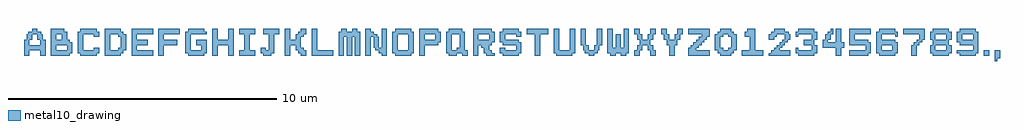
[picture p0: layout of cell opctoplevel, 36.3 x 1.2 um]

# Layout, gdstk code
import gdstk
lib = gdstk.Library(unit=1e-6, precision=1e-09)
def R(c, l, rs):  # rectangles x0, y0, x1, y1
    for r in rs: c.add(gdstk.rectangle(r[:2], r[2:], *l))
def P(c, l, *ps):  # polygons
    for p in ps: c.add(gdstk.Polygon(p, *l))
metal10_drawing = (26, 0)

opctoplevel = lib.new_cell('opctoplevel')
R(opctoplevel, metal10_drawing, [(35.7,0,35.9,0.2)])
P(opctoplevel, metal10_drawing, [(0,0),(0.2,0),(0.2,0.2),(0.6,0.2),(0.6,0),(0.8,0),(0.8,0.6),(0.7,0.6),(0.7,0.8),(0.64,0.8),(0.64,0.9),(0.5,0.9),(0.5,0.6),(0.6,0.6),(0.6,0.4),(0.2,0.4),(0.2,0.6),(0.3,0.6),(0.3,0.8),(0.5,0.8),(0.5,1),(0.3,1),(0.3,0.9),(0.16,0.9),(0.16,0.8),(0.1,0.8),(0.1,0.6),(0,0.6)],
  [(1,0),(1.7,0),(1.7,0.1),(1.8,0.1),(1.8,0.5),(1.7,0.5),(1.7,0.6),(1.6,0.6),(1.6,0.2),(1.2,0.2),(1.2,0.4),(1.6,0.4),(1.6,0.9),(1.5,0.9),(1.5,1),(1.4,1),(1.4,0.6),(1.2,0.6),(1.2,0.8),(1.4,0.8),(1.4,1),(1,1)],
  [(2,0.1),(2.1,0.1),(2.1,0),(2.7,0),(2.7,0.1),(2.8,0.1),(2.8,0.3),(2.6,0.3),(2.6,0.2),(2.2,0.2),(2.2,0.8),(2.6,0.8),(2.6,0.7),(2.8,0.7),(2.8,0.9),(2.7,0.9),(2.7,1),(2.1,1),(2.1,0.9),(2,0.9)],
  [(3,0),(3.6,0),(3.6,0.1),(3.7,0.1),(3.7,0.2),(3.8,0.2),(3.8,0.8),(3.7,0.8),(3.7,0.9),(3.6,0.9),(3.6,1),(3.5,1),(3.5,0.7),(3.6,0.7),(3.6,0.3),(3.5,0.3),(3.5,0.2),(3.2,0.2),(3.2,0.8),(3.5,0.8),(3.5,1),(3,1)],
  [(4,0),(4.8,0),(4.8,0.2),(4.2,0.2),(4.2,0.4),(4.6,0.4),(4.6,0.6),(4.2,0.6),(4.2,0.8),(4.8,0.8),(4.8,1),(4,1)],
  [(5,0),(5.2,0),(5.2,0.4),(5.7,0.4),(5.7,0.6),(5.2,0.6),(5.2,0.8),(5.8,0.8),(5.8,1),(5,1)],
  [(6,0.1),(6.1,0.1),(6.1,0),(6.7,0),(6.7,0.1),(6.8,0.1),(6.8,0.6),(6.4,0.6),(6.4,0.4),(6.6,0.4),(6.6,0.2),(6.2,0.2),(6.2,0.8),(6.8,0.8),(6.8,0.9),(6.7,0.9),(6.7,1),(6.1,1),(6.1,0.9),(6,0.9)],
  [(7,0),(7.2,0),(7.2,0.4),(7.6,0.4),(7.6,0),(7.8,0),(7.8,1),(7.6,1),(7.6,0.6),(7.2,0.6),(7.2,1),(7,1)],
  [(8,0),(8.6,0),(8.6,0.2),(8.4,0.2),(8.4,0.8),(8.6,0.8),(8.6,1),(8,1),(8,0.8),(8.2,0.8),(8.2,0.2),(8,0.2)],
  [(8.8,0.1),(8.9,0.1),(8.9,0),(9.2,0),(9.2,0.1),(9.3,0.1),(9.3,0.8),(9.5,0.8),(9.5,1),(8.9,1),(8.9,0.8),(9.1,0.8),(9.1,0.2),(9,0.2),(9,0.3),(8.8,0.3)],
  [(9.7,0),(9.9,0),(9.9,0.4),(10.1,0.4),(10.1,0.2),(10.2,0.2),(10.2,0.1),(10.3,0.1),(10.3,0),(10.5,0),(10.5,0.2),(10.4,0.2),(10.4,0.3),(10.3,0.3),(10.3,0.7),(10.4,0.7),(10.4,0.8),(10.5,0.8),(10.5,1),(10.3,1),(10.3,0.9),(10.2,0.9),(10.2,0.8),(10.1,0.8),(10.1,0.6),(9.9,0.6),(9.9,1),(9.7,1)],
  [(10.7,0),(11.5,0),(11.5,0.2),(10.9,0.2),(10.9,1),(10.7,1)],
  [(11.7,0),(11.9,0),(11.9,0.7),(12,0.7),(12,0),(12.2,0),(12.2,0.7),(12.3,0.7),(12.3,0),(12.5,0),(12.5,0.9),(12.4,0.9),(12.4,1),(12.2,1),(12.2,0.9),(12,0.9),(12,1),(11.8,1),(11.8,0.9),(11.7,0.9)],
  [(12.7,0),(12.9,0),(12.9,0.7),(13,0.7),(13,0.3),(13.06,0.3),(13.06,0.2),(13.2,0.2),(13.2,0.1),(13.3,0.1),(13.3,0),(13.5,0),(13.5,1),(13.3,1),(13.3,0.3),(13.2,0.3),(13.2,0.7),(13.14,0.7),(13.14,0.8),(13,0.8),(13,0.9),(12.9,0.9),(12.9,1),(12.7,1)],
  [(13.7,0.1),(13.8,0.1),(13.8,0),(14.4,0),(14.4,0.1),(14.5,0.1),(14.5,0.9),(14.4,0.9),(14.4,1),(14.3,1),(14.3,0.2),(13.9,0.2),(13.9,0.8),(14.3,0.8),(14.3,1),(13.8,1),(13.8,0.9),(13.7,0.9)],
  [(14.7,0),(14.9,0),(14.9,0.4),(15.4,0.4),(15.4,0.5),(15.5,0.5),(15.5,0.9),(15.4,0.9),(15.4,1),(15.3,1),(15.3,0.6),(14.9,0.6),(14.9,0.8),(15.3,0.8),(15.3,1),(14.7,1)],
  [(15.7,0.1),(15.8,0.1),(15.8,0),(16.1,0),(16.1,0.1),(16.3,0.1),(16.3,0),(16.5,0),(16.5,0.2),(16.4,0.2),(16.4,0.9),(16.3,0.9),(16.3,1),(16.2,1),(16.2,0.3),(16.1,0.3),(16.1,0.2),(15.9,0.2),(15.9,0.8),(16.2,0.8),(16.2,1),(15.8,1),(15.8,0.9),(15.7,0.9)],
  [(16.7,0),(16.9,0),(16.9,0.4),(17,0.4),(17,0.3),(17.1,0.3),(17.1,0.1),(17.2,0.1),(17.2,0),(17.5,0),(17.5,0.1),(17.4,0.1),(17.4,0.2),(17.3,0.2),(17.3,0.4),(17.4,0.4),(17.4,0.5),(17.5,0.5),(17.5,0.9),(17.4,0.9),(17.4,1),(17.3,1),(17.3,0.6),(16.9,0.6),(16.9,0.8),(17.3,0.8),(17.3,1),(16.7,1)],
  [(17.7,0.1),(17.8,0.1),(17.8,0),(18.4,0),(18.4,0.1),(18.5,0.1),(18.5,0.5),(18.4,0.5),(18.4,0.6),(17.9,0.6),(17.9,0.8),(18.3,0.8),(18.3,0.7),(18.5,0.7),(18.5,0.9),(18.4,0.9),(18.4,1),(17.8,1),(17.8,0.9),(17.7,0.9),(17.7,0.5),(17.8,0.5),(17.8,0.4),(18.3,0.4),(18.3,0.2),(17.9,0.2),(17.9,0.3),(17.7,0.3)],
  [(18.7,0.8),(19,0.8),(19,0),(19.2,0),(19.2,0.8),(19.5,0.8),(19.5,1),(18.7,1)],
  [(19.7,0.1),(19.8,0.1),(19.8,0),(20.4,0),(20.4,0.1),(20.5,0.1),(20.5,1),(20.3,1),(20.3,0.2),(19.9,0.2),(19.9,1),(19.7,1)],
  [(20.7,0.4),(20.8,0.4),(20.8,0.2),(20.86,0.2),(20.86,0.1),(21,0.1),(21,0),(21.2,0),(21.2,0.1),(21.34,0.1),(21.34,0.2),(21.4,0.2),(21.4,0.4),(21.5,0.4),(21.5,1),(21.3,1),(21.3,0.4),(21.2,0.4),(21.2,0.2),(21,0.2),(21,0.4),(20.9,0.4),(20.9,1),(20.7,1)],
  [(21.7,0.1),(21.8,0.1),(21.8,0),(22,0),(22,0.1),(22.2,0.1),(22.2,0),(22.4,0),(22.4,0.1),(22.5,0.1),(22.5,1),(22.3,1),(22.3,0.3),(22.2,0.3),(22.2,0.8),(22,0.8),(22,0.3),(21.9,0.3),(21.9,1),(21.7,1)],
  [(22.7,0),(22.9,0),(22.9,0.2),(23,0.2),(23,0.4),(23.2,0.4),(23.2,0.2),(23.3,0.2),(23.3,0),(23.5,0),(23.5,0.2),(23.4,0.2),(23.4,0.4),(23.3,0.4),(23.3,0.6),(23.4,0.6),(23.4,0.8),(23.5,0.8),(23.5,1),(23.3,1),(23.3,0.8),(23.2,0.8),(23.2,0.6),(23,0.6),(23,0.8),(22.9,0.8),(22.9,1),(22.7,1),(22.7,0.8),(22.8,0.8),(22.8,0.6),(22.9,0.6),(22.9,0.4),(22.8,0.4),(22.8,0.2),(22.7,0.2)],
  [(23.7,0.8),(23.8,0.8),(23.8,0.6),(23.9,0.6),(23.9,0.4),(24,0.4),(24,0),(24.2,0),(24.2,0.4),(24.3,0.4),(24.3,0.6),(24.4,0.6),(24.4,0.8),(24.5,0.8),(24.5,1),(24.3,1),(24.3,0.8),(24.2,0.8),(24.2,0.6),(24,0.6),(24,0.8),(23.9,0.8),(23.9,1),(23.7,1)],
  [(24.7,0),(25.5,0),(25.5,0.2),(25,0.2),(25,0.3),(25.1,0.3),(25.1,0.4),(25.2,0.4),(25.2,0.5),(25.3,0.5),(25.3,0.6),(25.4,0.6),(25.4,0.7),(25.5,0.7),(25.5,1),(24.7,1),(24.7,0.8),(25.2,0.8),(25.2,0.7),(25.1,0.7),(25.1,0.6),(25,0.6),(25,0.5),(24.9,0.5),(24.9,0.4),(24.8,0.4),(24.8,0.3),(24.7,0.3)],
  [(25.7,0.2),(25.8,0.2),(25.8,0.1),(25.9,0.1),(25.9,0),(26.3,0),(26.3,0.1),(26.4,0.1),(26.4,0.2),(26.5,0.2),(26.5,0.8),(26.4,0.8),(26.4,0.9),(26.3,0.9),(26.3,1),(26.2,1),(26.2,0.7),(26.3,0.7),(26.3,0.3),(26.2,0.3),(26.2,0.2),(26,0.2),(26,0.3),(25.9,0.3),(25.9,0.7),(26,0.7),(26,0.8),(26.2,0.8),(26.2,1),(25.9,1),(25.9,0.9),(25.8,0.9),(25.8,0.8),(25.7,0.8)],
  [(26.7,0),(27.5,0),(27.5,0.2),(27.2,0.2),(27.2,1),(26.9,1),(26.9,0.9),(26.8,0.9),(26.8,0.7),(27,0.7),(27,0.2),(26.7,0.2)],
  [(27.7,0),(28.5,0),(28.5,0.2),(28.1,0.2),(28.1,0.3),(28.2,0.3),(28.2,0.4),(28.3,0.4),(28.3,0.5),(28.4,0.5),(28.4,0.6),(28.5,0.6),(28.5,0.8),(28.44,0.8),(28.44,0.9),(28.3,0.9),(28.3,1),(27.9,1),(27.9,0.9),(27.8,0.9),(27.8,0.8),(27.7,0.8),(27.7,0.6),(27.9,0.6),(27.9,0.7),(28,0.7),(28,0.8),(28.3,0.8),(28.3,0.6),(28.2,0.6),(28.2,0.5),(28.1,0.5),(28.1,0.4),(28,0.4),(28,0.3),(27.9,0.3),(27.9,0.2),(27.8,0.2),(27.8,0.1),(27.7,0.1)],
  [(28.7,0.1),(28.8,0.1),(28.8,0),(29.4,0),(29.4,0.1),(29.5,0.1),(29.5,0.4),(29.4,0.4),(29.4,0.6),(29.5,0.6),(29.5,0.9),(29.4,0.9),(29.4,1),(28.8,1),(28.8,0.9),(28.7,0.9),(28.7,0.7),(28.8,0.7),(28.8,0.8),(29.3,0.8),(29.3,0.6),(29,0.6),(29,0.4),(29.3,0.4),(29.3,0.2),(28.8,0.2),(28.8,0.3),(28.7,0.3)],
  [(29.7,0.3),(30.2,0.3),(30.2,0),(30.4,0),(30.4,0.3),(30.5,0.3),(30.5,0.5),(30.4,0.5),(30.4,1),(30.2,1),(30.2,0.5),(29.9,0.5),(29.9,0.6),(30,0.6),(30,0.8),(30.1,0.8),(30.1,1),(30,1),(30,0.9),(29.9,0.9),(29.9,0.8),(29.8,0.8),(29.8,0.6),(29.7,0.6)],
  [(30.7,0),(31.4,0),(31.4,0.1),(31.5,0.1),(31.5,0.5),(31.4,0.5),(31.4,0.6),(30.9,0.6),(30.9,0.8),(31.5,0.8),(31.5,1),(30.7,1),(30.7,0.4),(31.3,0.4),(31.3,0.2),(30.7,0.2)],
  [(31.7,0.1),(31.8,0.1),(31.8,0),(32.4,0),(32.4,0.1),(32.5,0.1),(32.5,0.5),(32.4,0.5),(32.4,0.6),(32.3,0.6),(32.3,0.2),(31.9,0.2),(31.9,0.4),(32.3,0.4),(32.3,0.6),(31.9,0.6),(31.9,0.8),(32.4,0.8),(32.4,0.7),(32.5,0.7),(32.5,0.9),(32.4,0.9),(32.4,1),(31.8,1),(31.8,0.9),(31.7,0.9)],
  [(32.7,0.8),(33.3,0.8),(33.3,0.6),(33.2,0.6),(33.2,0.5),(33.1,0.5),(33.1,0.4),(33,0.4),(33,0),(33.2,0),(33.2,0.4),(33.3,0.4),(33.3,0.5),(33.4,0.5),(33.4,0.6),(33.5,0.6),(33.5,1),(32.7,1)],
  [(33.7,0.1),(33.8,0.1),(33.8,0),(34.4,0),(34.4,0.1),(34.5,0.1),(34.5,0.4),(34.4,0.4),(34.4,0.6),(34.5,0.6),(34.5,0.9),(34.4,0.9),(34.4,1),(34.3,1),(34.3,0.2),(33.9,0.2),(33.9,0.4),(34.3,0.4),(34.3,0.6),(33.9,0.6),(33.9,0.8),(34.3,0.8),(34.3,1),(33.8,1),(33.8,0.9),(33.7,0.9),(33.7,0.6),(33.8,0.6),(33.8,0.4),(33.7,0.4)],
  [(34.7,0.1),(34.8,0.1),(34.8,0),(35.4,0),(35.4,0.1),(35.5,0.1),(35.5,0.9),(35.4,0.9),(35.4,1),(35.3,1),(35.3,0.6),(34.9,0.6),(34.9,0.8),(35.3,0.8),(35.3,1),(34.8,1),(34.8,0.9),(34.7,0.9),(34.7,0.5),(34.8,0.5),(34.8,0.4),(35.3,0.4),(35.3,0.2),(34.7,0.2)],
  [(36.1,-0.2),(36.2,-0.2),(36.2,-0.1),(36.3,-0.1),(36.3,0.2),(36.1,0.2)])

lib.write_gds('opctoplevel.gds')
